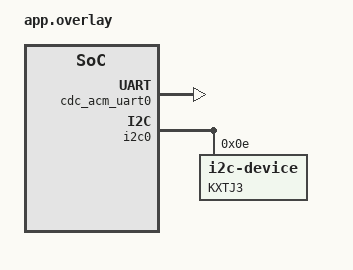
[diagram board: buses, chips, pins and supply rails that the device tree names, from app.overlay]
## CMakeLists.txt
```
cmake_minimum_required(VERSION 3.13.1)
find_package(Zephyr REQUIRED HINTS $ENV{ZEPHYR_BASE})
project(2026-05-30_KXTJ3_Accel_USB_Shell)

target_sources(app PRIVATE
    src/main.c
    drivers/kxtj3/kxtj3.c
)

target_include_directories(app PRIVATE drivers/kxtj3)
```

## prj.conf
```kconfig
CONFIG_I2C=y

# USB CDC-ACM
CONFIG_USB_DEVICE_STACK=y
CONFIG_USB_DEVICE_PRODUCT="KXTJ3 Accel Shell"
CONFIG_USB_DEVICE_VID=0x2FE3
CONFIG_USB_DEVICE_PID=0x0102
CONFIG_USB_CDC_ACM=y
CONFIG_UART_LINE_CTRL=y
CONFIG_UART_CONSOLE=y

# Shell over USB serial
CONFIG_SHELL=y
CONFIG_SHELL_BACKEND_SERIAL=y

# Logging
CONFIG_LOG=y
CONFIG_LOG_DEFAULT_LEVEL=3
CONFIG_LOG_BACKEND_UART=y
CONFIG_COMMON_LIBC_MALLOC_ARENA_SIZE=0
```

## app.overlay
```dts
/*
 * Wire KXTJ3-1057:
 *   VDD  -> 3.3V
 *   GND  -> GND
 *   SDA  -> P0.26
 *   SCL  -> P0.27
 *   ADDR -> GND  (I2C address = 0x0E)
 *           3.3V (I2C address = 0x0F)
 */

/ {
	chosen {
		zephyr,console    = &cdc_acm_uart0;
		zephyr,shell-uart = &cdc_acm_uart0;
	};
};

&zephyr_udc0 {
	cdc_acm_uart0: cdc_acm_uart0 {
		compatible = "zephyr,cdc-acm-uart";
		label = "CDC_ACM_0";
	};
};

&i2c0 {
	status = "okay";
	/* KXTJ3-1057 at address 0x0E (ADDR pin low) */
	kxtj3: kxtj3@e {
		compatible = "i2c-device";
		reg = <0x0e>;
		label = "KXTJ3";
	};
};
```

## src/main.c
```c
#include <zephyr/kernel.h>
#include <zephyr/usb/usb_device.h>
#include <zephyr/drivers/uart.h>
#include <zephyr/drivers/i2c.h>
#include <zephyr/shell/shell.h>
#include <zephyr/logging/log.h>
#include <stdlib.h>
#include "kxtj3.h"

LOG_MODULE_REGISTER(day15, LOG_LEVEL_INF);

static const struct device *i2c_dev   = DEVICE_DT_GET(DT_NODELABEL(i2c0));
static const struct device *usb_uart  = DEVICE_DT_GET(DT_NODELABEL(cdc_acm_uart0));

#define KXTJ3_ADDR KXTJ3_ADDR_LOW   /* Change to KXTJ3_ADDR_HIGH if ADDR pin is high */

/* accel whoami */
static int cmd_accel_whoami(const struct shell *sh, size_t argc, char **argv)
{
    uint8_t id;
    int rc = kxtj3_who_am_i(i2c_dev, KXTJ3_ADDR, &id);

    if (rc) {
        shell_error(sh, "I2C error: %d — check wiring", rc);
        return rc;
    }

    if (id == KXTJ3_WHO_AM_I_VAL) {
        shell_print(sh, "WHO_AM_I = 0x%02X  OK (KXTJ3-1057 detected)", id);
    } else {
        shell_error(sh, "WHO_AM_I = 0x%02X  UNEXPECTED (want 0x%02X)", id, KXTJ3_WHO_AM_I_VAL);
    }
    return 0;
}

/* accel read */
static int cmd_accel_read(const struct shell *sh, size_t argc, char **argv)
{
    struct kxtj3_data data;
    int rc = kxtj3_read(i2c_dev, KXTJ3_ADDR, &data);

    if (rc) {
        shell_error(sh, "Read failed: %d", rc);
        return rc;
    }

    shell_print(sh, "X: %5d mg    Y: %5d mg    Z: %5d mg",
                data.x_mg, data.y_mg, data.z_mg);
    return 0;
}

/* accel stream <count> */
static int cmd_accel_stream(const struct shell *sh, size_t argc, char **argv)
{
    int n = (argc >= 2) ? atoi(argv[1]) : 10;

    if (n <= 0 || n > 1000) {
        shell_error(sh, "count must be 1-1000");
        return -EINVAL;
    }

    shell_print(sh, "Streaming %d readings (200 ms interval)...", n);

    for (int i = 0; i < n; i++) {
        struct kxtj3_data data;
        if (kxtj3_read(i2c_dev, KXTJ3_ADDR, &data) == 0) {
            shell_print(sh, "[%3d]  X: %5d  Y: %5d  Z: %5d  (mg)",
                        i, data.x_mg, data.y_mg, data.z_mg);
        } else {
            shell_error(sh, "[%3d]  read error", i);
        }
        k_msleep(200);
    }

    shell_print(sh, "Stream done.");
    return 0;
}

/* accel range <2|4|8|16> */
static int cmd_accel_range(const struct shell *sh, size_t argc, char **argv)
{
    if (argc < 2) {
        shell_error(sh, "Usage: accel range <2|4|8|16>");
        return -EINVAL;
    }

    int g = atoi(argv[1]);
    if (g != 2 && g != 4 && g != 8 && g != 16) {
        shell_error(sh, "Valid ranges: 2, 4, 8, 16");
        return -EINVAL;
    }

    int rc = kxtj3_set_range(i2c_dev, KXTJ3_ADDR, (uint8_t)g);
    if (rc == 0) {
        shell_print(sh, "Range set to ±%dg", g);
    } else {
        shell_error(sh, "Failed to set range: %d", rc);
    }
    return rc;
}

SHELL_STATIC_SUBCMD_SET_CREATE(accel_cmds,
    SHELL_CMD(whoami, NULL, "Read WHO_AM_I register",          cmd_accel_whoami),
    SHELL_CMD(read,   NULL, "Read X Y Z in mg",                cmd_accel_read),
    SHELL_CMD(stream, NULL, "Stream readings: stream <count>", cmd_accel_stream),
    SHELL_CMD(range,  NULL, "Set range: range <2|4|8|16>",     cmd_accel_range),
    SHELL_SUBCMD_SET_END
);

SHELL_CMD_REGISTER(accel, &accel_cmds, "KXTJ3-1057 accelerometer commands", NULL);

int main(void)
{
    if (!device_is_ready(i2c_dev)) {
        LOG_ERR("I2C device not ready");
        return;
    }

    if (!device_is_ready(usb_uart) || usb_enable(NULL) != 0) {
        LOG_ERR("USB init failed");
        return;
    }

    /* Wait for PC to open the COM port */
    uint32_t dtr = 0;
    while (!dtr) {
        uart_line_ctrl_get(usb_uart, UART_LINE_CTRL_DTR, &dtr);
        k_msleep(100);
    }

    LOG_INF("Day 15: USB shell ready");

    int rc = kxtj3_init(i2c_dev, KXTJ3_ADDR);
    if (rc) {
        LOG_ERR("KXTJ3 init failed (%d) — check wiring and I2C address", rc);
    } else {
        LOG_INF("KXTJ3 ready — type 'accel help' for commands");
    }
    return 0;
}
```
